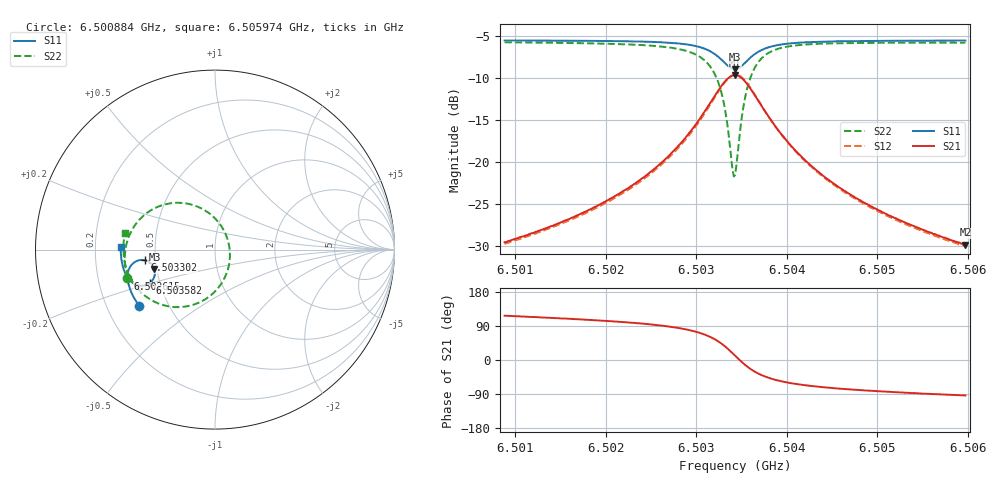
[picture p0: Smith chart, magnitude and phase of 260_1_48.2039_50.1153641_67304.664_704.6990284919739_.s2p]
#  HZ  S  RI  R  50.00
! Rohde & Schwarz Vector Network Analyzer
! Rohde-Schwarz,ZNB20-2Port,1311601062101988,3.16
! Created: UTC 3/20/2024, 11:47:43 AM
! freq[Hz]  re:S11  im:S11  re:S21  im:S21  re:S12  im:S12  re:S22  im:S22
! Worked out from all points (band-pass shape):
!   401 points, 6.500884 GHz to 6.505974 GHz, reference 50 ohm
!   highest |S21| = -9.70 dB at 6.503429 GHz (marker M1); lowest = -29.9 dB at 6.505974 GHz (marker M2)
!   |S21| within 3 dB of the highest: 6.503174 GHz to 6.503683 GHz (509 kHz wide, 0.00783 % of centre)
!   lowest |S11| = -9.0 dB at 6.503429 GHz (marker M3), VSWR 2.10, Z = 24.3 - j6 ohm
!   |S11| at or under -10 dB: nowhere
!   |S22| runs from -21.8 to -5.8 dB; largest |S21 - S12| = 0.011
!   S11 on the Smith chart (normalised r, x): 6.500884 GHz: 0.34, -0.30; 6.502615 GHz: 0.33, -0.15; 6.503302 GHz: 0.44, -0.06; 6.503582 GHz: 0.44, -0.20; 6.505974 GHz: 0.31, +0.01
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6.5008844e9  -0.4233 -0.3133  -0.0149 0.0296  -0.0132 0.0296  -0.4881 -0.16
6.5017368e9  -0.4603 -0.2509  -0.0145 0.0472  -0.012 0.0467  -0.5025 -0.0704
6.502233e9  -0.4778 -0.2072  -0.0113 0.0678  -0.00822 0.0667  -0.4992 -0.000227
6.5025893e9  -0.4864 -0.1678  -0.00266 0.0955  0.000916 0.0933  -0.4808 0.0709
6.5026147e9  -0.4866 -0.1645  -0.0014 0.0984  0.0021 0.096  -0.4782 0.0771
6.5029073e9  -0.4831 -0.1199  0.0255 0.1421  0.0291 0.1375  -0.4222 0.1659
6.5030982e9  -0.4622 -0.0819  0.0791 0.1838  0.0816 0.1778  -0.3194 0.2383
6.5032127e9  -0.4299 -0.0613  0.1478 0.2013  0.1488 0.1951  -0.1955 0.2605
6.5033017e9  -0.3897 -0.0593  0.2271 0.1851  0.2274 0.1802  -0.059 0.2203
6.5033399e9  -0.3705 -0.0671  0.2631 0.1622  0.264 0.1575  0.000687 0.1734
6.5034035e9  -0.344 -0.0935  0.3107 0.0985  0.3131 0.0934  0.0721 0.0507
6.503429e9  -0.3377 -0.1081  0.3207 0.0662  0.3239 0.0605  0.0827 -0.00912
6.5034544e9  -0.3347 -0.1236  0.3242 0.0327  0.3276 0.0257  0.0806 -0.0703
6.503518e9  -0.342 -0.1606  0.3061 -0.0446  0.308 -0.0547  0.0246 -0.2048
6.5035816e9  -0.3631 -0.1864  0.2632 -0.0985  0.262 -0.1097  -0.0717 -0.2869
6.5036834e9  -0.4025 -0.2014  0.1888 -0.1343  0.1836 -0.1436  -0.221 -0.3202
6.5038488e9  -0.4482 -0.1916  0.1077 -0.1312  0.1008 -0.1361  -0.3673 -0.2737
6.5040269e9  -0.4756 -0.1703  0.0636 -0.1112  0.0573 -0.1134  -0.4387 -0.209
6.5042814e9  -0.4963 -0.1403  0.0338 -0.0872  0.029 -0.0876  -0.4819 -0.1372
6.5046504e9  -0.5114 -0.102  0.0152 -0.0647  0.012 -0.0642  -0.5038 -0.0645
6.5051338e9  -0.5211 -0.0574  0.00489 -0.0475  0.00279 -0.0469  -0.5102 0.00327
6.5059736e9  -0.5259 0.0134  -0.00203 -0.0319  -0.00343 -0.0312  -0.502 0.0914
